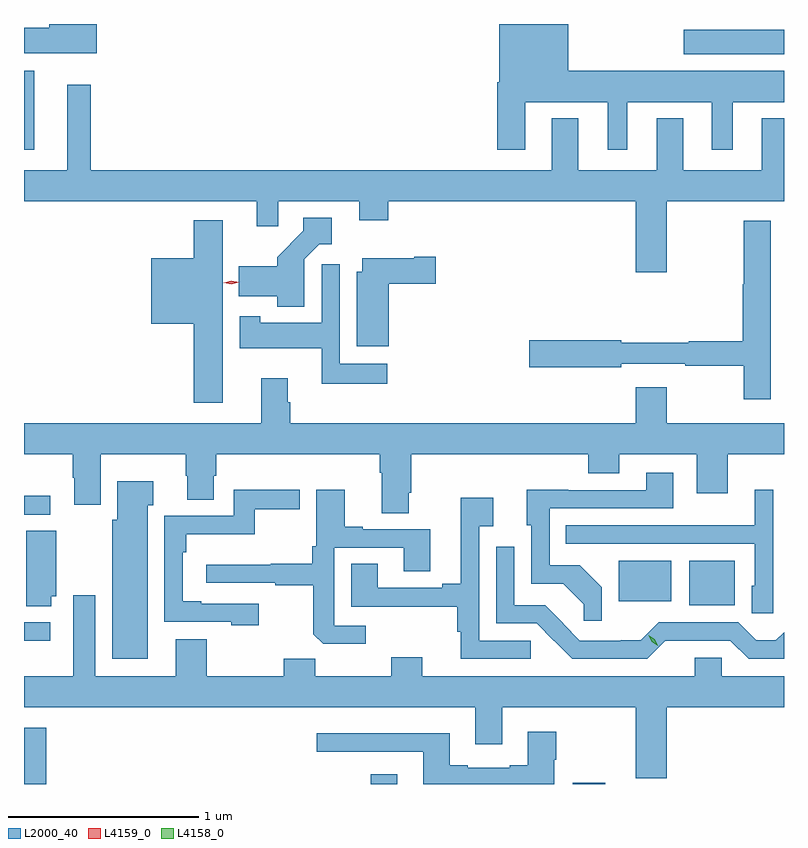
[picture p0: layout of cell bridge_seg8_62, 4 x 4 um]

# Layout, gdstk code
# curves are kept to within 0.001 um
import gdstk
lib = gdstk.Library(unit=1e-6, precision=1e-09)
def R(c, l, rs):  # rectangles x0, y0, x1, y1
    for r in rs: c.add(gdstk.rectangle(r[:2], r[2:], *l))
def P(c, l, *ps):  # polygons
    for p in ps: c.add(gdstk.Polygon(p, *l))
L2000_40 = (2000, 40)
L4158_0 = (4158, 0)
L4159_0 = (4159, 0)

bridge_seg8_62 = lib.new_cell('bridge_seg8_62')
R(bridge_seg8_62, L2000_40, [(1108.841,1108.105,1108.958,1108.402), (1110.665,1108.105,1110.805,1108.156), (1111.73,1108.105,1111.901,1108.111), (1108.841,1108.86,1108.978,1108.956), (1112.342,1109.045,1112.581,1109.281), (1111.97,1109.066,1112.248,1109.281), (1108.841,1109.523,1108.978,1109.622), (1108.841,1111.443,1108.894,1111.858), (1112.313,1111.946,1112.841,1112.074)])
P(bridge_seg8_62, L2000_40, [(1111.48,1111.694),(1111.913,1111.694),(1111.913,1111.443),(1112.017,1111.443),(1112.017,1111.694),(1112.462,1111.694),(1112.462,1111.443),(1112.572,1111.443),(1112.572,1111.694),(1112.841,1111.694),(1112.841,1111.858),(1111.705,1111.858),(1111.705,1112.105),(1111.343,1112.105),(1111.343,1111.798),(1111.331,1111.798),(1111.331,1111.443),(1111.48,1111.443)],
  [(1109.224,1112.105),(1108.974,1112.105),(1108.974,1112.084),(1108.841,1112.084),(1108.841,1111.952),(1109.224,1111.952)],
  [(1112.224,1111.172),(1112.841,1111.172),(1112.841,1111.609),(1112.723,1111.609),(1112.723,1111.336),(1112.311,1111.336),(1112.311,1111.609),(1112.171,1111.609),(1112.171,1111.336),(1111.759,1111.336),(1111.759,1111.609),(1111.619,1111.609),(1111.619,1111.336),(1109.191,1111.336),(1109.191,1111.786),(1109.069,1111.786),(1109.069,1111.336),(1108.841,1111.336),(1108.841,1111.172),(1110.065,1111.172),(1110.065,1111.041),(1110.18,1111.041),(1110.18,1111.172),(1110.605,1111.172),(1110.605,1111.073),(1110.758,1111.073),(1110.758,1111.172),(1112.06,1111.172),(1112.06,1110.798),(1112.224,1110.798)],
  [(1110.315,1110.867),(1110.395,1110.947),(1110.46,1110.947),(1110.46,1111.084),(1110.312,1111.084),(1110.312,1111.017),(1110.173,1110.878),(1110.173,1110.829),(1109.972,1110.829),(1109.972,1110.671),(1110.173,1110.671),(1110.173,1110.617),(1110.315,1110.617)],
  [(1109.887,1111.072),(1109.735,1111.072),(1109.735,1110.871),(1109.51,1110.871),(1109.51,1110.527),(1109.735,1110.527),(1109.735,1110.111),(1109.887,1110.111)],
  [(1112.77,1111.069),(1112.629,1111.069),(1112.629,1110.734),(1112.624,1110.734),(1112.624,1110.434),(1112.34,1110.434),(1112.34,1110.427),(1111.984,1110.427),(1111.984,1110.44),(1111.5,1110.44),(1111.5,1110.298),(1111.984,1110.298),(1111.984,1110.318),(1112.32,1110.318),(1112.32,1110.306),(1112.629,1110.306),(1112.629,1110.129),(1112.77,1110.129)],
  [(1110.76,1110.737),(1111.009,1110.737),(1111.009,1110.879),(1110.896,1110.879),(1110.896,1110.871),(1110.62,1110.871),(1110.62,1110.801),(1110.593,1110.801),(1110.593,1110.408),(1110.76,1110.408)],
  [(1110.754,1110.316),(1110.504,1110.316),(1110.504,1110.84),(1110.408,1110.84),(1110.408,1110.532),(1110.085,1110.532),(1110.085,1110.568),(1109.976,1110.568),(1109.976,1110.398),(1110.407,1110.398),(1110.407,1110.212),(1110.754,1110.212)],
  [(1110.865,1109.638),(1110.878,1109.638),(1110.878,1109.84),(1111.811,1109.84),(1111.811,1109.741),(1111.975,1109.741),(1111.975,1109.84),(1112.381,1109.84),(1112.381,1109.634),(1112.545,1109.634),(1112.545,1109.84),(1112.841,1109.84),(1112.841,1110.004),(1112.224,1110.004),(1112.224,1110.193),(1112.06,1110.193),(1112.06,1110.004),(1110.242,1110.004),(1110.242,1110.114),(1110.229,1110.114),(1110.229,1110.241),(1110.089,1110.241),(1110.089,1110.004),(1108.841,1110.004),(1108.841,1109.84),(1109.098,1109.84),(1109.098,1109.716),(1109.105,1109.716),(1109.105,1109.574),(1109.245,1109.574),(1109.245,1109.84),(1109.692,1109.84),(1109.692,1109.727),(1109.699,1109.727),(1109.699,1109.602),(1109.839,1109.602),(1109.839,1109.727),(1109.852,1109.727),(1109.852,1109.84),(1110.713,1109.84),(1110.713,1109.744),(1110.725,1109.744),(1110.725,1109.53),(1110.865,1109.53)],
  [(1111.881,1109.14),(1111.765,1109.256),(1111.608,1109.256),(1111.608,1109.556),(1112.257,1109.556),(1112.257,1109.743),(1112.117,1109.743),(1112.117,1109.652),(1111.705,1109.652),(1111.705,1109.654),(1111.487,1109.654),(1111.487,1109.466),(1111.512,1109.466),(1111.512,1109.16),(1111.678,1109.16),(1111.786,1109.052),(1111.786,1108.965),(1111.881,1108.965)],
  [(1109.491,1109.573),(1109.521,1109.573),(1109.521,1109.698),(1109.333,1109.698),(1109.333,1109.496),(1109.306,1109.496),(1109.306,1108.763),(1109.491,1108.763)],
  [(1110.076,1109.055),(1109.773,1109.055),(1109.773,1109.068),(1109.676,1109.068),(1109.676,1109.324),(1109.696,1109.324),(1109.696,1109.42),(1110.055,1109.42),(1110.055,1109.551),(1110.292,1109.551),(1110.292,1109.654),(1109.946,1109.654),(1109.946,1109.517),(1109.58,1109.517),(1109.58,1108.959),(1109.931,1108.959),(1109.931,1108.94),(1110.076,1108.94)],
  [(1112.784,1109.653),(1112.687,1109.653),(1112.687,1109.467),(1112.353,1109.467),(1112.353,1109.466),(1111.693,1109.466),(1111.693,1109.37),(1112.688,1109.37),(1112.688,1109.148),(1112.672,1109.148),(1112.672,1109.005),(1112.784,1109.005)],
  [(1110.64,1108.938),(1110.474,1108.938),(1110.474,1109.349),(1110.839,1109.349),(1110.839,1109.224),(1110.979,1109.224),(1110.979,1109.445),(1110.625,1109.445),(1110.625,1109.458),(1110.529,1109.458),(1110.529,1109.653),(1110.378,1109.653),(1110.378,1109.356),(1110.358,1109.356),(1110.358,1109.264),(1110.139,1109.264),(1110.139,1109.26),(1109.799,1109.26),(1109.799,1109.163),(1110.163,1109.163),(1110.163,1109.151),(1110.363,1109.151),(1110.363,1108.893),(1110.415,1108.842),(1110.64,1108.842)],
  [(1111.509,1108.86),(1111.236,1108.86),(1111.236,1109.462),(1111.312,1109.462),(1111.312,1109.611),(1111.139,1109.611),(1111.139,1109.159),(1111.043,1109.159),(1111.043,1109.139),(1110.703,1109.139),(1110.703,1109.264),(1110.563,1109.264),(1110.563,1109.038),(1111.12,1109.038),(1111.12,1108.907),(1111.139,1108.907),(1111.139,1108.764),(1111.509,1108.764)],
  [(1108.984,1109.094),(1109.011,1109.094),(1109.011,1109.438),(1108.853,1109.438),(1108.853,1109.041),(1108.984,1109.041)],
  [(1112.216,1108.859),(1112.559,1108.86),(1112.655,1108.764),(1112.841,1108.764),(1112.841,1108.905),(1112.797,1108.861),(1112.696,1108.861),(1112.601,1108.956),(1112.181,1108.956),(1112.087,1108.862),(1111.982,1108.862),(1111.982,1108.86),(1111.767,1108.86),(1111.677,1108.95),(1111.679,1108.952),(1111.585,1109.046),(1111.422,1109.046),(1111.422,1109.353),(1111.326,1109.353),(1111.326,1108.95),(1111.539,1108.95),(1111.727,1108.764),(1112.121,1108.764)],
  [(1112.224,1108.508),(1112.841,1108.508),(1112.841,1108.672),(1112.514,1108.672),(1112.514,1108.77),(1112.372,1108.77),(1112.372,1108.672),(1110.937,1108.672),(1110.937,1108.771),(1110.773,1108.771),(1110.773,1108.672),(1110.373,1108.672),(1110.373,1108.765),(1110.209,1108.765),(1110.209,1108.672),(1109.803,1108.672),(1109.803,1108.867),(1109.639,1108.867),(1109.639,1108.672),(1109.215,1108.672),(1109.215,1109.098),(1109.099,1109.098),(1109.099,1108.672),(1108.841,1108.672),(1108.841,1108.508),(1111.217,1108.508),(1111.217,1108.314),(1111.357,1108.314),(1111.357,1108.508),(1112.06,1108.508),(1112.06,1108.134),(1112.224,1108.134)],
  [(1111.633,1108.233),(1111.641,1108.233),(1111.641,1108.381),(1111.493,1108.381),(1111.493,1108.204),(1111.397,1108.204),(1111.397,1108.191),(1111.177,1108.191),(1111.177,1108.204),(1111.081,1108.204),(1111.081,1108.372),(1110.381,1108.372),(1110.381,1108.275),(1110.941,1108.275),(1110.941,1108.105),(1111.633,1108.105)])
P(bridge_seg8_62, L4158_0, [(1112.177,1108.833),(1112.146,1108.854),(1112.129,1108.888),(1112.129,1108.888),(1112.13,1108.888),(1112.161,1108.867),(1112.177,1108.834),(1112.177,1108.833)])
P(bridge_seg8_62, L4159_0, [(1109.933,1110.734),(1109.892,1110.743),(1109.892,1110.743),(1109.892,1110.744),(1109.933,1110.754),(1109.974,1110.745),(1109.974,1110.745),(1109.974,1110.745)])

lib.write_gds('bridge_seg8_62.gds')
